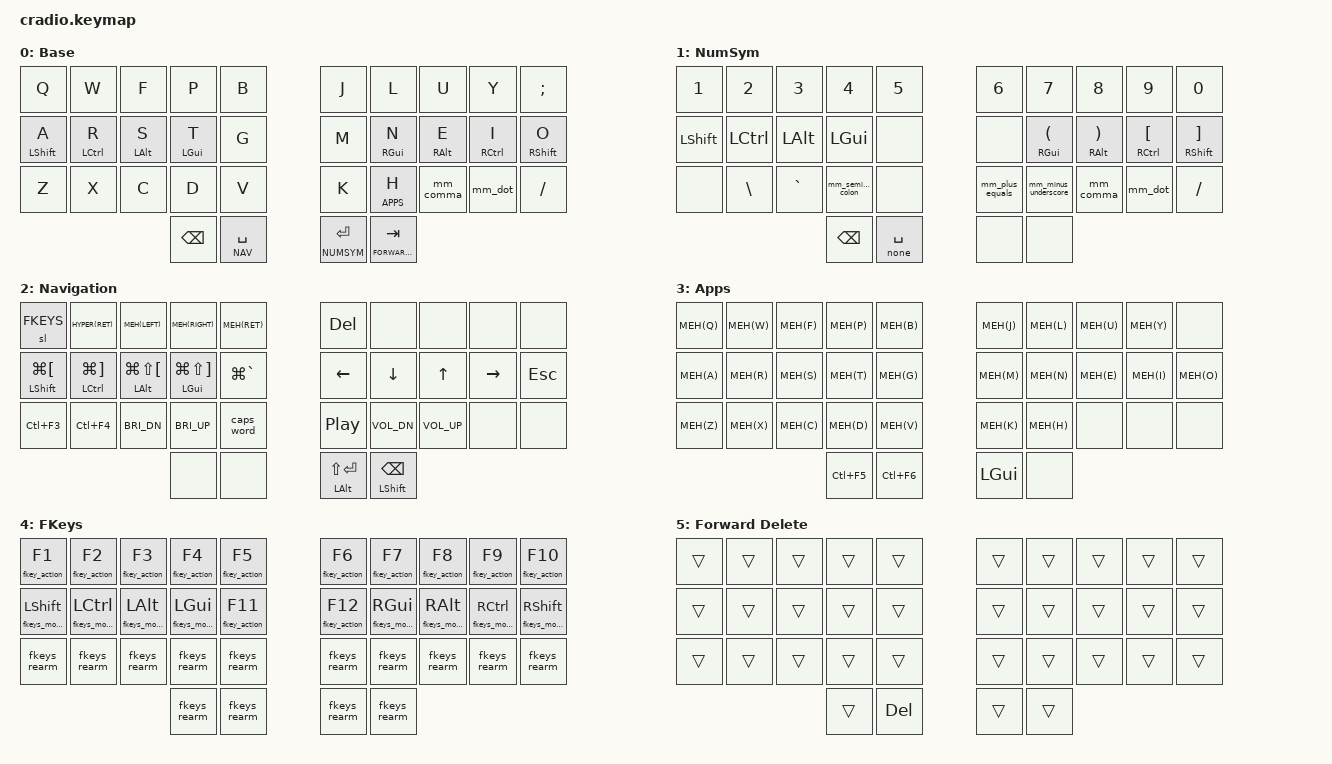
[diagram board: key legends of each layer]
// ════════════════════════════════════════════════════════════════════════════
// Ferris Sweep (cradio) — Colemak-DH, matching the current Kanata
// home-row-mods profile in kamilradziszewski/dotfiles.
//
// The keyboard emits Colemak-DH directly; keep macOS on US-QWERTY.
// Comments and combo positions use physical QWERTY positions.
//
// Layers: 0 BASE · 1 NUMSYM · 2 NAV · 3 APPS · 4 FKEYS · 5 FORWARD_DELETE
// Positions: 0-9 top, 10-19 home, 20-29 bottom, 30-33 thumbs (LO/LI/RI/RO).
// ════════════════════════════════════════════════════════════════════════════

#include <behaviors.dtsi>
#include <dt-bindings/zmk/behaviors.h>
#include <dt-bindings/zmk/keys.h>

#define BASE 0
#define NUMSYM 1
#define NAV 2
#define APPS 3
#define FKEYS 4
#define FORWARD_DELETE 5

#define MEH(key) LC(LA(LS(key)))
#define HYPER(key) LG(LC(LA(LS(key))))

&sl {
    release-after-ms = <3000>;
};

/ {
    behaviors {
        // Opposite-hand key releases resolve a hold; same-hand rolls stay taps.
        left_home_row_mod: left_home_row_mod {
            compatible = "zmk,behavior-hold-tap";
            #binding-cells = <2>;
            flavor = "balanced";
            tapping-term-ms = <300>;
            require-prior-idle-ms = <150>;
            hold-trigger-key-positions = <5 6 7 8 9 15 16 17 18 19 25 26 27 28 29>;
            hold-trigger-on-release;
            bindings = <&kp>, <&kp>;
        };

        left_home_row_shift: left_home_row_shift {
            compatible = "zmk,behavior-hold-tap";
            #binding-cells = <2>;
            flavor = "balanced";
            tapping-term-ms = <300>;
            require-prior-idle-ms = <150>;
            hold-trigger-key-positions = <5 6 7 8 9 15 16 17 18 19 25 26 27 28 29>;
            hold-trigger-on-release;
            bindings = <&sticky_shift>, <&kp>;
        };

        right_home_row_mod: right_home_row_mod {
            compatible = "zmk,behavior-hold-tap";
            #binding-cells = <2>;
            flavor = "balanced";
            tapping-term-ms = <300>;
            require-prior-idle-ms = <150>;
            hold-trigger-key-positions = <0 1 2 3 4 10 11 12 13 14 20 21 22 23 24>;
            hold-trigger-on-release;
            bindings = <&kp>, <&kp>;
        };

        right_home_row_shift: right_home_row_shift {
            compatible = "zmk,behavior-hold-tap";
            #binding-cells = <2>;
            flavor = "balanced";
            tapping-term-ms = <300>;
            require-prior-idle-ms = <150>;
            hold-trigger-key-positions = <0 1 2 3 4 10 11 12 13 14 20 21 22 23 24>;
            hold-trigger-on-release;
            bindings = <&sticky_shift>, <&kp>;
        };

        sticky_shift: sticky_shift {
            compatible = "zmk,behavior-sticky-key";
            #binding-cells = <1>;
            bindings = <&kp>;
            release-after-ms = <500>;
            quick-release;
        };

        thumb_layer_tap: thumb_layer_tap {
            compatible = "zmk,behavior-hold-tap";
            #binding-cells = <2>;
            flavor = "tap-preferred";
            tapping-term-ms = <200>;
            bindings = <&mo>, <&kp>;
        };

        navigation_thumb_tap: navigation_thumb_tap {
            compatible = "zmk,behavior-hold-tap";
            #binding-cells = <2>;
            flavor = "tap-preferred";
            tapping-term-ms = <200>;
            bindings = <&kp>, <&kp>;
        };

        apps_hold_tap: apps_hold_tap {
            compatible = "zmk,behavior-hold-tap";
            #binding-cells = <2>;
            flavor = "balanced";
            tapping-term-ms = <200>;
            bindings = <&sl>, <&kp>;
        };

        numsym_space_tap: numsym_space_tap {
            compatible = "zmk,behavior-hold-tap";
            #binding-cells = <2>;
            flavor = "tap-preferred";
            tapping-term-ms = <200>;
            bindings = <&none>, <&kp>;
        };

        modifier_chord: modifier_chord {
            compatible = "zmk,behavior-macro-two-param";
            #binding-cells = <2>;
            bindings = <
                &macro_press
                &macro_param_1to1 &kp MACRO_PLACEHOLDER
                &macro_param_2to1 &kp MACRO_PLACEHOLDER
                &macro_pause_for_release
                &macro_release
                &macro_param_1to1 &kp MACRO_PLACEHOLDER
                &macro_param_2to1 &kp MACRO_PLACEHOLDER
            >;
        };

        fkey_action: fkey_action {
            compatible = "zmk,behavior-macro-one-param";
            #binding-cells = <1>;
            bindings = <
                &macro_press
                &macro_param_1to1 &kp MACRO_PLACEHOLDER
                &macro_pause_for_release
                &macro_release
                &macro_param_1to1 &kp MACRO_PLACEHOLDER
                &macro_tap &to BASE
            >;
        };

        fkeys_modifier: fkeys_modifier {
            compatible = "zmk,behavior-macro-one-param";
            #binding-cells = <1>;
            bindings = <
                &macro_press
                &macro_param_1to1 &kp MACRO_PLACEHOLDER
                &macro_tap &sl FKEYS
                &macro_pause_for_release
                &macro_release
                &macro_param_1to1 &kp MACRO_PLACEHOLDER
            >;
        };

        fkeys_rearm: fkeys_rearm {
            compatible = "zmk,behavior-macro";
            #binding-cells = <0>;
            bindings = <
                &macro_tap &sl FKEYS
                &macro_pause_for_release
                &macro_tap &sl FKEYS
            >;
        };

        // Shifted punctuation forks from the Kanata profile.
        mm_comma: mm_comma {
            compatible = "zmk,behavior-mod-morph";
            #binding-cells = <0>;
            bindings = <&kp COMMA>, <&kp SQT>;
            mods = <(MOD_LSFT|MOD_RSFT)>;
        };
        mm_dot: mm_dot {
            compatible = "zmk,behavior-mod-morph";
            #binding-cells = <0>;
            bindings = <&kp DOT>, <&kp DQT>;
            mods = <(MOD_LSFT|MOD_RSFT)>;
        };
        mm_lpar: mm_lpar {
            compatible = "zmk,behavior-mod-morph";
            #binding-cells = <0>;
            bindings = <&kp LPAR>, <&kp LT>;
            mods = <(MOD_LSFT|MOD_RSFT)>;
        };
        mm_rpar: mm_rpar {
            compatible = "zmk,behavior-mod-morph";
            #binding-cells = <0>;
            bindings = <&kp RPAR>, <&kp GT>;
            mods = <(MOD_LSFT|MOD_RSFT)>;
        };
        mm_semicolon_colon: mm_semicolon_colon {
            compatible = "zmk,behavior-mod-morph";
            #binding-cells = <0>;
            bindings = <&kp SEMI>, <&kp COLON>;
            mods = <(MOD_LSFT|MOD_RSFT)>;
        };
        mm_plus_equals: mm_plus_equals {
            compatible = "zmk,behavior-mod-morph";
            #binding-cells = <0>;
            bindings = <&kp PLUS>, <&kp EQUAL>;
            mods = <(MOD_LSFT|MOD_RSFT)>;
        };
        mm_minus_underscore: mm_minus_underscore {
            compatible = "zmk,behavior-mod-morph";
            #binding-cells = <0>;
            bindings = <&kp MINUS>, <&kp UNDER>;
            mods = <(MOD_LSFT|MOD_RSFT)>;
        };
    };

    combos {
        compatible = "zmk,combos";

        combo_escape {
            timeout-ms = <25>;
            key-positions = <14 15>;
            bindings = <&kp ESC>;
            layers = <BASE>;
        };

        combo_left_gui_shift {
            timeout-ms = <25>;
            key-positions = <10 13>;
            bindings = <&modifier_chord LGUI LSHFT>;
            slow-release;
            layers = <BASE>;
        };
        combo_left_gui_alt {
            timeout-ms = <25>;
            key-positions = <12 13>;
            bindings = <&modifier_chord LGUI LALT>;
            slow-release;
            layers = <BASE>;
        };
        combo_left_control_alt {
            timeout-ms = <25>;
            key-positions = <11 12>;
            bindings = <&modifier_chord LCTRL LALT>;
            slow-release;
            layers = <BASE>;
        };
        combo_left_shift_alt {
            timeout-ms = <25>;
            key-positions = <10 12>;
            bindings = <&modifier_chord LSHFT LALT>;
            slow-release;
            layers = <BASE>;
        };
        combo_left_shift_control {
            timeout-ms = <25>;
            key-positions = <10 11>;
            bindings = <&modifier_chord LSHFT LCTRL>;
            slow-release;
            layers = <BASE>;
        };

        combo_right_gui_shift {
            timeout-ms = <25>;
            key-positions = <16 19>;
            bindings = <&modifier_chord RGUI RSHFT>;
            slow-release;
            layers = <BASE>;
        };
        combo_right_gui_alt {
            timeout-ms = <25>;
            key-positions = <16 17>;
            bindings = <&modifier_chord RGUI RALT>;
            slow-release;
            layers = <BASE>;
        };
        combo_right_control_alt {
            timeout-ms = <25>;
            key-positions = <17 18>;
            bindings = <&modifier_chord RCTRL RALT>;
            slow-release;
            layers = <BASE>;
        };
        combo_right_alt_shift {
            timeout-ms = <25>;
            key-positions = <17 19>;
            bindings = <&modifier_chord RALT RSHFT>;
            slow-release;
            layers = <BASE>;
        };
        combo_right_control_shift {
            timeout-ms = <25>;
            key-positions = <18 19>;
            bindings = <&modifier_chord RCTRL RSHFT>;
            slow-release;
            layers = <BASE>;
        };
    };

    keymap {
        compatible = "zmk,keymap";

        // ── 0 · BASE: Colemak-DH with opposite-hand home-row mods ──────────
        base_layer {
            display-name = "Base";
            bindings = <
//  phys Q             W              E              R              T              Y         U              I              O              P
    &kp Q               &kp W          &kp F          &kp P          &kp B          &kp J     &kp L          &kp U          &kp Y          &kp SEMI
//  phys A                        S                         D                         F                         G       H       J                         K                         L                         ;
    &left_home_row_shift LSHFT A    &left_home_row_mod LCTRL R    &left_home_row_mod LALT S    &left_home_row_mod LGUI T    &kp G   &kp M   &right_home_row_mod RGUI N    &right_home_row_mod RALT E    &right_home_row_mod RCTRL I    &right_home_row_shift RSHFT O
//  phys Z    X    C    V    B    N    M    ,          .        /
    &kp Z     &kp X &kp C &kp D &kp V &kp K &apps_hold_tap APPS H &mm_comma &mm_dot &kp FSLH
//  thumbs· LO       LI                         RI                        RO
             &kp BSPC &thumb_layer_tap NAV SPACE &thumb_layer_tap NUMSYM RET &thumb_layer_tap FORWARD_DELETE TAB
            >;
        };

        // ── 1 · NUMSYM: hold RI from Base ──────────────────────────────────
        numsym_layer {
            display-name = "NumSym";
            bindings = <
//  phys Q    W    E    R    T    Y    U    I    O    P
    &kp N1   &kp N2 &kp N3 &kp N4 &kp N5 &kp N6 &kp N7 &kp N8 &kp N9 &kp N0
//  phys A       S       D       F       G       H       J                         K                         L                           ;
    &kp LSHFT &kp LCTRL &kp LALT &kp LGUI &none   &none   &right_home_row_mod RGUI LPAR &right_home_row_mod RALT RPAR &right_home_row_mod RCTRL LBKT &right_home_row_mod RSHFT RBKT
//  phys Z    X          C           V                         B    N              M                    ,          .       /
    &none   &kp BSLH   &kp GRAVE   &mm_semicolon_colon &none &mm_plus_equals &mm_minus_underscore &mm_comma &mm_dot &kp FSLH
//  thumbs· LO       LI                  RI    RO
             &kp BSPC &numsym_space_tap 0 SPACE &none &none
            >;
        };

        // ── 2 · NAV: hold LI from Base ─────────────────────────────────────
        nav_layer {
            display-name = "Navigation";
            bindings = <
//  phys Q                         W                E              R               T              Y       U    I    O    P
    &sl FKEYS &kp HYPER(RET) &kp MEH(LEFT) &kp MEH(RIGHT) &kp MEH(RET) &kp DEL &none &none &none &none
//  phys A                         S                                 D                               F                             G             H       J         K       L      ;
    &left_home_row_mod LSHFT LG(LBKT) &left_home_row_mod LCTRL LG(RBKT) &left_home_row_mod LALT LG(LS(LBKT)) &left_home_row_mod LGUI LG(LS(RBKT)) &kp LG(GRAVE) &kp LEFT &kp DOWN &kp UP &kp RIGHT &kp ESC
//  phys Z              X             C             V             B             N        M             ,             .      /
    &kp LC(F3)           &kp LC(F4)    &kp C_BRI_DN  &kp C_BRI_UP  &caps_word    &kp C_PP &kp C_VOL_DN &kp C_VOL_UP &none  &none
//  thumbs· LO    LI    RI                                        RO
             &none &none &navigation_thumb_tap LALT LS(RET) &navigation_thumb_tap LSHFT BSPC
            >;
        };

        // ── 3 · APPS: hold physical M, then use one key ────────────────────
        apps_layer {
            display-name = "Apps";
            bindings = <
//  phys Q         W         E         R         T         Y         U         I         O         P
    &kp MEH(Q)     &kp MEH(W) &kp MEH(F) &kp MEH(P) &kp MEH(B) &kp MEH(J) &kp MEH(L) &kp MEH(U) &kp MEH(Y) &none
//  phys A         S         D         F         G         H         J         K         L         ;
    &kp MEH(A)     &kp MEH(R) &kp MEH(S) &kp MEH(T) &kp MEH(G) &kp MEH(M) &kp MEH(N) &kp MEH(E) &kp MEH(I) &kp MEH(O)
//  phys Z         X         C         V         B         N         M         ,      .      /
    &kp MEH(Z)     &kp MEH(X) &kp MEH(C) &kp MEH(D) &kp MEH(V) &kp MEH(K) &kp MEH(H) &none  &none  &none
//  thumbs· LO       LI       RI      RO
             &kp LC(F5) &kp LC(F6) &kp LGUI &none
            >;
        };

        // ── 4 · FKEYS: Q from Navigation; F-key actions return to Base ────
        fkeys_layer {
            display-name = "FKeys";
            bindings = <
//  phys Q          W          E          R          T          Y          U          I          O          P
    &fkey_action F1 &fkey_action F2 &fkey_action F3 &fkey_action F4 &fkey_action F5 &fkey_action F6 &fkey_action F7 &fkey_action F8 &fkey_action F9 &fkey_action F10
//  phys A                   S                   D                   F                   G              H              J                   K                  L                  ;
    &fkeys_modifier LSHFT    &fkeys_modifier LCTRL &fkeys_modifier LALT &fkeys_modifier LGUI &fkey_action F11 &fkey_action F12 &fkeys_modifier RGUI &fkeys_modifier RALT &fkeys_modifier RCTRL &fkeys_modifier RSHFT
//  phys Z          X          C          V          B          N          M          ,          .          /
    &fkeys_rearm   &fkeys_rearm &fkeys_rearm &fkeys_rearm &fkeys_rearm &fkeys_rearm &fkeys_rearm &fkeys_rearm &fkeys_rearm &fkeys_rearm
//  thumbs· LO       LI       RI       RO
             &fkeys_rearm &fkeys_rearm &fkeys_rearm &fkeys_rearm
            >;
        };

        // ── 5 · FORWARD DELETE: hold RO, then tap LI ───────────────────────
        forward_delete_layer {
            display-name = "Forward Delete";
            bindings = <
//  phys Q    W      E      R      T      Y      U      I      O      P
    &trans &trans &trans &trans &trans &trans &trans &trans &trans &trans
//  phys A    S      D      F      G      H      J      K      L      ;
    &trans &trans &trans &trans &trans &trans &trans &trans &trans &trans
//  phys Z    X      C      V      B      N      M      ,      .      /
    &trans &trans &trans &trans &trans &trans &trans &trans &trans &trans
//  thumbs· LO    LI       RI     RO
             &trans &kp DEL &trans &trans
            >;
        };
    };
};
